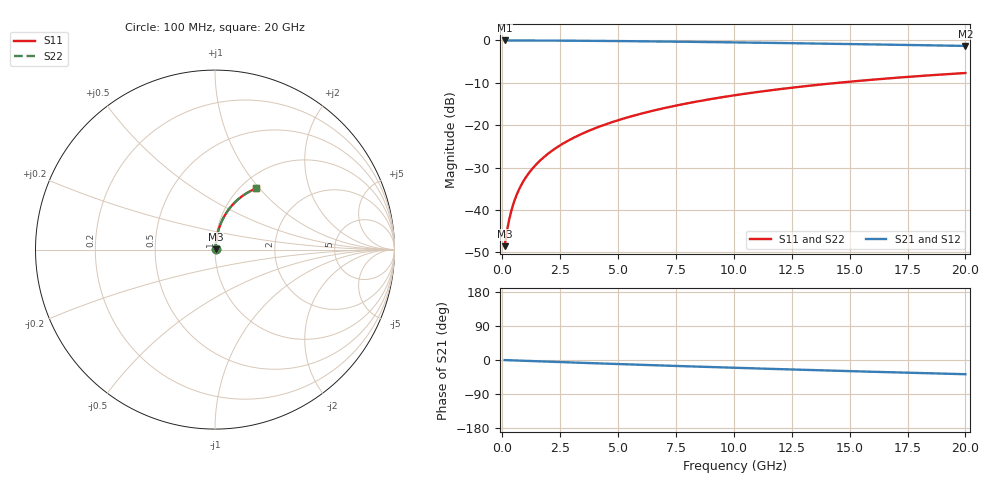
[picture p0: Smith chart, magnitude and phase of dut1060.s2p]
! Touchstone file exported from HFSS 2024.1.0
!  File:  C:/UserFiles/LocalFiles/RDL_TSV_Batchsim/temp_RDL_bottom_1060_1780052304.aedt
!  Generated:  07:00:59 PM May 29, 2026
!  Design:  RDL_bottom
!  Project:  temp_RDL_bottom_1060_1780052304
!  Setup:  Setup1
!  Solution:  Sweep
! Variables:
!  dtsv = 10.80580581um
!  hbump = 3um
!  htsv = 64.85um
!  ldown = 501.32um
!  lrdl = 100um
!  p = 40
!  p1 = 46.8um
!  rhole = 1um
!  t = 450um
!  tdown = 4.75um
!  trdl = 3.915915916um
!  wdown = 13.38um
!  wrdl = 20um
# GHz S MA R 50.000000
! Terminal data exported
! Port[1] = RDL1_T1
! Port[2] = RDL1_T2
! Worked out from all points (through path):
!   200 points, 100 MHz to 20 GHz, reference 50 ohm
!   highest |S21| = -0.03 dB at 100 MHz (marker M1); lowest = -1.3 dB at 20 GHz (marker M2)
!   group delay of S21, straight-line fit = 5.2 ps
!   lowest |S11| = -48.5 dB at 100 MHz (marker M3), VSWR 1.01, Z = 50.3 + j0.241 ohm
!   |S11| at or under -10 dB: start of sweep to 14.52 GHz
!   |S22| runs from -48.5 to -7.7 dB; largest |S21 - S12| = 2.6e-15
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0.1  0.003746 39.9  0.9971 -0.2  0.9971 -0.2  0.003746 39.9
! Gamma 0 0 0 0
! Port Impedance 50 0 50 0
0.2  0.00561 58.8  0.997 -0.4  0.997 -0.4  0.005609 58.8
0.3  0.007772 67.6  0.9969 -0.7  0.9969 -0.7  0.007772 67.6
0.4  0.01003 72.4  0.9968 -0.9  0.9968 -0.9  0.01003 72.4
0.5  0.01233 75.3  0.9967 -1.1  0.9967 -1.1  0.01233 75.3
0.6  0.01464 77.3  0.9966 -1.3  0.9966 -1.3  0.01464 77.3
0.8  0.01927 79.5  0.9963 -1.8  0.9963 -1.8  0.01927 79.5
1.1  0.02617 81.2  0.9958 -2.4  0.9958 -2.4  0.02617 81.2
1.5  0.03529 82.1  0.9951 -3.3  0.9951 -3.3  0.03529 82.1
1.8  0.0421 82.3  0.9944 -3.9  0.9944 -3.9  0.0421 82.3
2.1  0.04889 82.4  0.9936 -4.6  0.9936 -4.6  0.04889 82.4
2.7  0.06245 82.2  0.9917 -5.9  0.9917 -5.9  0.06245 82.2
3.5  0.08052 81.5  0.9885 -7.6  0.9885 -7.6  0.08052 81.5
4.2  0.09633 80.7  0.9853 -9.0  0.9853 -9.0  0.09633 80.7
5  0.1144 79.7  0.981 -10.7  0.981 -10.7  0.1144 79.7
5.9  0.1346 78.5  0.9757 -12.5  0.9757 -12.5  0.1346 78.5
6.8  0.1546 77.2  0.97 -14.3  0.97 -14.3  0.1546 77.2
8.3  0.1878 74.8  0.9595 -17.3  0.9595 -17.3  0.1878 74.8
10.1  0.2266 71.9  0.9458 -20.7  0.9458 -20.7  0.2266 71.9
13.4  0.2945 66.5  0.9186 -26.6  0.9186 -26.6  0.2945 66.5
16.7  0.3566 61.1  0.8895 -32.2  0.8895 -32.2  0.3566 61.1
20  0.4121 55.9  0.8597 -37.5  0.8597 -37.5  0.4121 55.9
